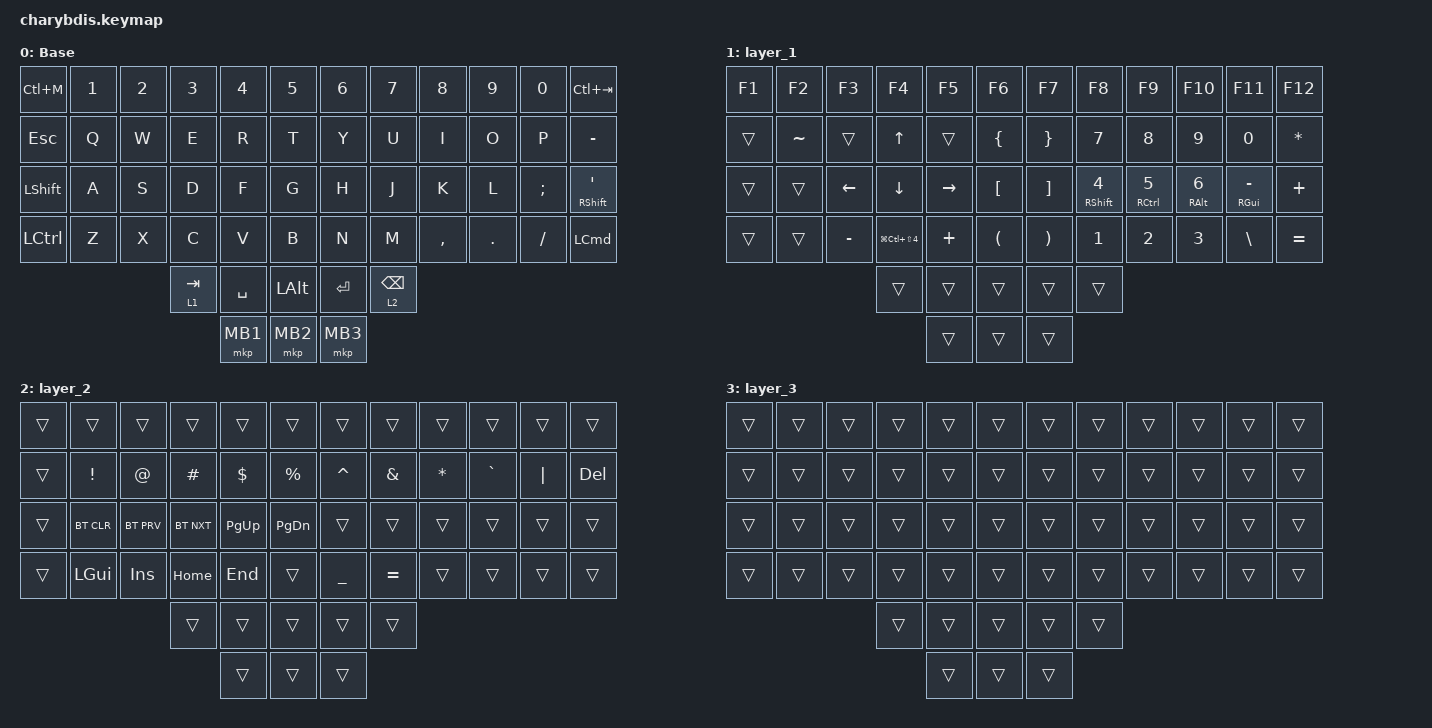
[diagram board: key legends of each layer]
#include <dt-bindings/zmk/mouse.h>
#include <behaviors.dtsi>
#include <dt-bindings/zmk/bt.h>
#include <dt-bindings/zmk/keys.h>

&lt {
    tapping-term-ms = <200>;
    flavor = "balanced";
    quick-tap-ms = <150>;
};

/ {
    combos {
        compatible = "zmk,combos";

        escc {
            bindings = <&kp ESC>;
            key-positions = <17 18>;
            layers = <1>;
        };
    };

    keymap {
        compatible = "zmk,keymap";

        Base {
            bindings = <
&kp LC(M)         &kp N1  &kp N2  &kp N3     &kp N4     &kp N5          &kp N6     &kp N7           &kp N8     &kp N9   &kp N0     &kp LC(TAB)
&kp ESCAPE        &kp Q   &kp W   &kp E      &kp R      &kp T           &kp Y      &kp U            &kp I      &kp O    &kp P      &kp MINUS
&kp LEFT_SHIFT    &kp A   &kp S   &kp D      &kp F      &kp G           &kp H      &kp J            &kp K      &kp L    &kp SEMI   &mt RIGHT_SHIFT SQT
&kp LEFT_CONTROL  &kp Z   &kp X   &kp C      &kp V      &kp B           &kp N      &kp M            &kp COMMA  &kp DOT  &kp SLASH  &kp LEFT_COMMAND
                                  &lt 1 TAB  &kp SPACE  &kp LEFT_ALT    &kp ENTER  &lt 2 BACKSPACE
                                             &mkp MB1   &mkp MB2        &mkp MB3
            >;
        };

        layer_1 {
            bindings = <
&kp F1  &kp F2     &kp F3          &kp F4                    &kp F5     &kp F6                  &kp F7                 &kp F8              &kp F9                &kp F10           &kp F11              &kp F12
&trans  &kp TILDE  &trans          &kp UP_ARROW              &trans     &kp LEFT_BRACE          &kp RIGHT_BRACE        &kp N7              &kp N8                &kp N9            &kp N0               &kp STAR
&trans  &trans     &kp LEFT_ARROW  &kp DOWN_ARROW            &kp RIGHT  &kp LBKT                &kp RBKT               &mt RIGHT_SHIFT N4  &mt RIGHT_CONTROL N5  &mt RIGHT_ALT N6  &mt RIGHT_GUI MINUS  &kp PLUS
&trans  &trans     &kp MINUS       &kp LG(LC(LS(NUMBER_4)))  &kp PLUS   &kp LEFT_PARENTHESIS    &kp RIGHT_PARENTHESIS  &kp N1              &kp N2                &kp N3            &kp BACKSLASH        &kp EQUAL
                                   &trans                    &trans     &trans                  &trans                 &trans
                                                             &trans     &trans                  &trans
            >;
        };

        layer_2 {
            bindings = <
&trans  &trans        &trans      &trans      &trans       &trans           &trans     &trans         &trans     &trans     &trans    &trans
&trans  &kp EXCL      &kp AT      &kp HASH    &kp DOLLAR   &kp PERCENT      &kp CARET  &kp AMPERSAND  &kp ASTRK  &kp GRAVE  &kp PIPE  &kp DELETE
&trans  &bt BT_CLR    &bt BT_PRV  &bt BT_NXT  &kp PAGE_UP  &kp PAGE_DOWN    &trans     &trans         &trans     &trans     &trans    &trans
&trans  &kp LEFT_GUI  &kp INS     &kp HOME    &kp END      &trans           &kp UNDER  &kp EQUAL      &trans     &trans     &trans    &trans
                                  &trans      &trans       &trans           &trans     &trans
                                              &trans       &trans           &trans
            >;
        };

        layer_3 {
            bindings = <
&trans  &trans  &trans  &trans  &trans  &trans    &trans  &trans  &trans  &trans  &trans  &trans
&trans  &trans  &trans  &trans  &trans  &trans    &trans  &trans  &trans  &trans  &trans  &trans
&trans  &trans  &trans  &trans  &trans  &trans    &trans  &trans  &trans  &trans  &trans  &trans
&trans  &trans  &trans  &trans  &trans  &trans    &trans  &trans  &trans  &trans  &trans  &trans
                        &trans  &trans  &trans    &trans  &trans
                                &trans  &trans    &trans
            >;
        };
    };
};
